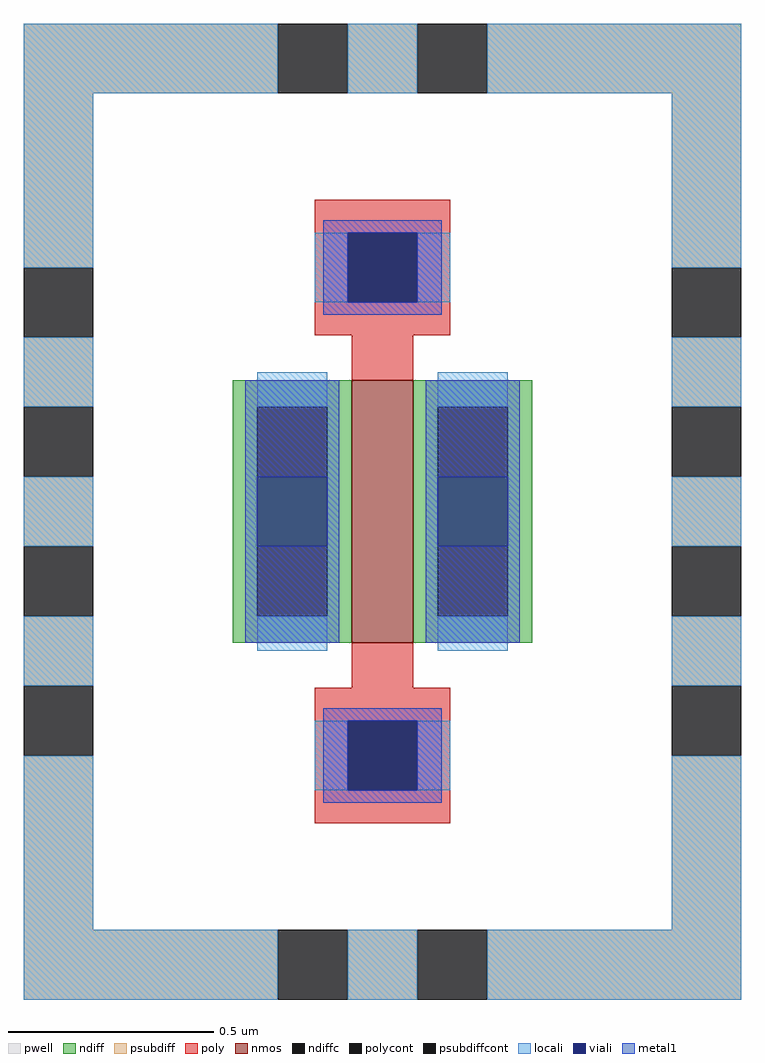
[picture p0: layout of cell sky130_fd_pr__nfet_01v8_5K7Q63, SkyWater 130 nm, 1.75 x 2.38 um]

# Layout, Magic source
magic
tech sky130A
magscale 1 2
<< pwell >>
rect -175 204 175 238
rect -175 -204 -141 204
rect 141 -204 175 204
rect -175 -238 175 -204
<< nmos >>
rect -15 -64 15 64
<< ndiff >>
rect -73 51 -15 64
rect -73 17 -61 51
rect -27 17 -15 51
rect -73 -17 -15 17
rect -73 -51 -61 -17
rect -27 -51 -15 -17
rect -73 -64 -15 -51
rect 15 51 73 64
rect 15 17 27 51
rect 61 17 73 51
rect 15 -17 73 17
rect 15 -51 27 -17
rect 61 -51 73 -17
rect 15 -64 73 -51
<< ndiffc >>
rect -61 17 -27 51
rect -61 -51 -27 -17
rect 27 17 61 51
rect 27 -51 61 -17
<< psubdiff >>
rect -175 204 -51 238
rect -17 204 17 238
rect 51 204 175 238
rect -175 119 -141 204
rect 141 119 175 204
rect -175 51 -141 85
rect -175 -17 -141 17
rect -175 -85 -141 -51
rect 141 51 175 85
rect 141 -17 175 17
rect 141 -85 175 -51
rect -175 -204 -141 -119
rect 141 -204 175 -119
rect -175 -238 -51 -204
rect -17 -238 17 -204
rect 51 -238 175 -204
<< psubdiffcont >>
rect -51 204 -17 238
rect 17 204 51 238
rect -175 85 -141 119
rect 141 85 175 119
rect -175 17 -141 51
rect -175 -51 -141 -17
rect 141 17 175 51
rect 141 -51 175 -17
rect -175 -119 -141 -85
rect 141 -119 175 -85
rect -51 -238 -17 -204
rect 17 -238 51 -204
<< poly >>
rect -33 136 33 152
rect -33 102 -17 136
rect 17 102 33 136
rect -33 86 33 102
rect -15 64 15 86
rect -15 -86 15 -64
rect -33 -102 33 -86
rect -33 -136 -17 -102
rect 17 -136 33 -102
rect -33 -152 33 -136
<< polycont >>
rect -17 102 17 136
rect -17 -136 17 -102
<< locali >>
rect -175 204 -51 238
rect -17 204 17 238
rect 51 204 175 238
rect -175 119 -141 204
rect -33 102 -17 136
rect 17 102 33 136
rect 141 119 175 204
rect -175 51 -141 85
rect -175 -17 -141 17
rect -175 -85 -141 -51
rect -61 51 -27 68
rect -61 -68 -27 -51
rect 27 51 61 68
rect 27 -68 61 -51
rect 141 51 175 85
rect 141 -17 175 17
rect 141 -85 175 -51
rect -175 -204 -141 -119
rect -33 -136 -17 -102
rect 17 -136 33 -102
rect 141 -204 175 -119
rect -175 -238 -51 -204
rect -17 -238 17 -204
rect 51 -238 175 -204
<< viali >>
rect -17 102 17 136
rect -61 -17 -27 17
rect 27 -17 61 17
rect -17 -136 17 -102
<< metal1 >>
rect -29 136 29 142
rect -29 102 -17 136
rect 17 102 29 136
rect -29 96 29 102
rect -67 17 -21 64
rect -67 -17 -61 17
rect -27 -17 -21 17
rect -67 -64 -21 -17
rect 21 17 67 64
rect 21 -17 27 17
rect 61 -17 67 17
rect 21 -64 67 -17
rect -29 -102 29 -96
rect -29 -136 -17 -102
rect 17 -136 29 -102
rect -29 -142 29 -136
<< properties >>
string FIXED_BBOX -158 -221 158 221
<< end >>
